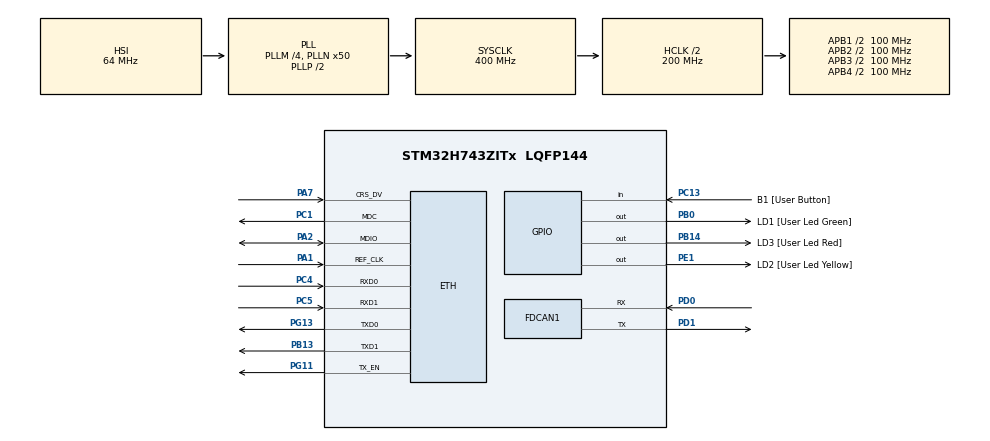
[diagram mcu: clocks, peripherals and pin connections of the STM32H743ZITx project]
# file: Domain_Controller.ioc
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CORTEX_M7.AccessPermission_S-Cortex_Memory_Protection_Unit_Region1_Settings_S=MPU_REGION_FULL_ACCESS
CORTEX_M7.AccessPermission_S-Cortex_Memory_Protection_Unit_Region2_Settings_S=MPU_REGION_FULL_ACCESS
CORTEX_M7.BaseAddress_S-Cortex_Memory_Protection_Unit_Region1_Settings_S=0x30020000
CORTEX_M7.BaseAddress_S-Cortex_Memory_Protection_Unit_Region2_Settings_S=0x30040000
CORTEX_M7.CPU_DCache=Enabled
CORTEX_M7.CPU_ICache=Enabled
CORTEX_M7.DisableExec_S-Cortex_Memory_Protection_Unit_Region1_Settings_S=MPU_INSTRUCTION_ACCESS_DISABLE
CORTEX_M7.DisableExec_S-Cortex_Memory_Protection_Unit_Region2_Settings_S=MPU_INSTRUCTION_ACCESS_DISABLE
CORTEX_M7.Enable_S-Cortex_Memory_Protection_Unit_Region1_Settings_S=MPU_REGION_ENABLE
CORTEX_M7.Enable_S-Cortex_Memory_Protection_Unit_Region2_Settings_S=MPU_REGION_ENABLE
CORTEX_M7.IsBufferable_S-Cortex_Memory_Protection_Unit_Region2_Settings_S=MPU_ACCESS_BUFFERABLE
CORTEX_M7.IsShareable_S-Cortex_Memory_Protection_Unit_Region2_Settings_S=MPU_ACCESS_SHAREABLE
CORTEX_M7.Size_S-Cortex_Memory_Protection_Unit_Region1_Settings_S=MPU_REGION_SIZE_128KB
CORTEX_M7.Size_S-Cortex_Memory_Protection_Unit_Region2_Settings_S=MPU_REGION_SIZE_512B
CORTEX_M7.TypeExtField_S-Cortex_Memory_Protection_Unit_Region1_Settings_S=MPU_TEX_LEVEL1
CORTEX_M7.default_mode_Activation=1
ETH.MediaInterface=HAL_ETH_RMII_MODE
FDCAN1.AutoRetransmission=ENABLE
FDCAN1.CalculateBaudRateNominal=1000000
FDCAN1.CalculateTimeBitNominal=1000
FDCAN1.CalculateTimeQuantumNominal=200.0
FDCAN1.DataTimeSeg1=1
FDCAN1.DataTimeSeg2=1
FDCAN1.NominalPrescaler=20
FDCAN1.NominalSyncJumpWidth=1
FDCAN1.NominalTimeSeg1=2
FDCAN1.NominalTimeSeg2=2
FDCAN1.RxFifo0ElmtsNbr=1
FDCAN1.StdFiltersNbr=1
FDCAN1.TxBuffersNbr=0
FDCAN1.TxFifoQueueElmtsNbr=8
FDCAN1.TxFifoQueueMode=FDCAN_TX_FIFO_OPERATION
LWIP.BSP.number=1
LWIP.IP_ADDRESS=192.168.010.050
LWIP.LWIP_DHCP=0
LWIP.LWIP_RAM_HEAP_POINTER=0x30020000
LWIP.MEM_SIZE=131048
LWIP.NETMASK_ADDRESS=255.255.255.000
LWIP.Version=v2.1.2_Cube
LWIP0.BSP.STBoard=false
LWIP0.BSP.api=BSP_COMPONENT_DRIVER
LWIP0.BSP.component=LAN8742
LWIP0.BSP.instance=LAN8742
LWIP0.BSP.name=Driver_PHY
LWIP0.BSP.semaphore=S_LAN8742
LWIP0.BSP.solution=LAN8742
Mcu.Family=STM32H7
Mcu.Name=STM32H743ZITx
Mcu.Package=LQFP144
NVIC.PriorityGroup=NVIC_PRIORITYGROUP_4
PA1.GPIO_Speed=GPIO_SPEED_FREQ_VERY_HIGH
PA1.Mode=RMII
PA1.Signal=ETH_REF_CLK
PA13\ (JTMS/SWDIO).GPIO_Label=JTMS
PA13\ (JTMS/SWDIO).Signal=DEBUG_JTMS-SWDIO
PA14\ (JTCK/SWCLK).GPIO_Label=JTCK
PA14\ (JTCK/SWCLK).Signal=DEBUG_JTCK-SWCLK
PA2.GPIO_Speed=GPIO_SPEED_FREQ_VERY_HIGH
PA2.Mode=RMII
PA2.Signal=ETH_MDIO
PA7.GPIO_Speed=GPIO_SPEED_FREQ_VERY_HIGH
PA7.Mode=RMII
PA7.Signal=ETH_CRS_DV
PB0.GPIO_Label=LD1 [User Led Green]
PB0.Signal=GPIO_Output
PB13.GPIO_Speed=GPIO_SPEED_FREQ_VERY_HIGH
PB13.Mode=RMII
PB13.Signal=ETH_TXD1
PB14.GPIO_Label=LD3 [User Led Red]
PB14.Signal=GPIO_Output
PC1.GPIO_Speed=GPIO_SPEED_FREQ_VERY_HIGH
PC1.Mode=RMII
PC1.Signal=ETH_MDC
PC13.GPIO_Label=B1 [User Button]
PC13.Signal=GPIO_Input
PC14-OSC32_IN\ (OSC32_IN).Signal=RCC_OSC32_IN
PC15-OSC32_OUT\ (OSC32_OUT).Signal=RCC_OSC32_OUT
PC4.GPIO_Speed=GPIO_SPEED_FREQ_VERY_HIGH
PC4.Mode=RMII
PC4.Signal=ETH_RXD0
PC5.GPIO_Speed=GPIO_SPEED_FREQ_VERY_HIGH
PC5.Mode=RMII
PC5.Signal=ETH_RXD1
PD0.Mode=FDCAN_Activate
PD0.Signal=FDCAN1_RX
PD1.Mode=FDCAN_Activate
PD1.Signal=FDCAN1_TX
PD8.GPIO_Label=STLINK_RX
PD8.Signal=USART3_TX
PD9.GPIO_Label=STLINK_TX
PD9.Signal=USART3_RX
PE1.GPIO_Label=LD2 [User Led Yellow]
PE1.Signal=GPIO_Output
PG11.GPIO_Speed=GPIO_SPEED_FREQ_VERY_HIGH
PG11.Mode=RMII
PG11.Signal=ETH_TX_EN
PG13.GPIO_Speed=GPIO_SPEED_FREQ_VERY_HIGH
PG13.Mode=RMII
PG13.Signal=ETH_TXD0
PH0-OSC_IN\ (PH0).Mode=HSE-External-Clock-Source
PH0-OSC_IN\ (PH0).Signal=RCC_OSC_IN
PH1-OSC_OUT\ (PH1).Signal=RCC_OSC_OUT
ProjectManager.HeapSize=0x200
ProjectManager.StackSize=0x400
ProjectManager.TargetToolchain=STM32CubeIDE
RCC.ADCFreq_Value=129000000
RCC.APB1Freq_Value=100000000
RCC.APB2Freq_Value=100000000
RCC.APB3Freq_Value=100000000
RCC.APB4Freq_Value=100000000
RCC.CortexFreq_Value=400000000
RCC.D1PPRE=RCC_APB3_DIV2
RCC.D2PPRE1=RCC_APB1_DIV2
RCC.D2PPRE2=RCC_APB2_DIV2
RCC.D3PPRE=RCC_APB4_DIV2
RCC.DIVM1=4
RCC.DIVN1=50
RCC.DIVQ1=8
RCC.HCLKFreq_Value=200000000
RCC.HPRE=RCC_HCLK_DIV2
RCC.PLLFRACN=0
RCC.SYSCLKFreq_VALUE=400000000
RCC.SYSCLKSource=RCC_SYSCLKSOURCE_PLLCLK
RCC.USBFreq_Value=100000000
VP_LWIP_VS_Enabled.Mode=Enabled
VP_MEMORYMAP_VS_MEMORYMAP.Mode=CurAppReg
board=NUCLEO-H743ZI2

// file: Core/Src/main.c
/* USER CODE BEGIN Header */
/**
  ******************************************************************************
  * @file           : main.c
  * @brief          : Main program body
  ******************************************************************************
  * @attention
  *
  * Copyright (c) 2025 STMicroelectronics.
  * All rights reserved.
  *
  * This software is licensed under terms that can be found in the LICENSE file
  * in the root directory of this software component.
  * If no LICENSE file comes with this software, it is provided AS-IS.
  *
  ******************************************************************************
  */
/* USER CODE END Header */
#include "main.h"
#include "lwip.h"

/* USER CODE BEGIN Includes */
#include "mqtt.h"
#include "netif.h"
#include "lwip/apps/mqtt.h"
#include "string.h"
/* USER CODE END Includes */

/* USER CODE BEGIN PD */
#define FIRMWARE_MAX_SIZE (1024*256) // 256 KB max
#define CAN_MAX_PAYLOAD 8
/* USER CODE END PD */

FDCAN_HandleTypeDef hfdcan1;

/* USER CODE BEGIN PV */
mqtt_client_t *client; // MQTT client

uint8_t firmware_buffer[FIRMWARE_MAX_SIZE];
uint32_t firmware_offset = 0;
uint8_t receiving_firmware = 0;
uint8_t send_to_can = 0;

// FDCAN1 Defines
FDCAN_TxHeaderTypeDef   TxHeader1;
FDCAN_RxHeaderTypeDef   RxHeader1;
uint8_t               TxData1[8];
uint8_t               RxData1[8];

/* USER CODE END PV */

void SystemClock_Config(void);
static void MPU_Config(void);
static void MX_GPIO_Init(void);
static void MX_FDCAN1_Init(void);

/* USER CODE BEGIN 0 */

void mqtt_incoming_publish_cb(void *arg, const char *topic, u32_t tot_len) {
  if (strcmp(topic, "firmware") == 0) {
    firmware_offset = 0;
    receiving_firmware = 1;
  } else {
    receiving_firmware = 0;
  }
}

void mqtt_incoming_data_cb(void *arg, const u8_t *data, u16_t len, u8_t flags) {
  if (!receiving_firmware) return;

  if ((firmware_offset + len) < FIRMWARE_MAX_SIZE) {
    memcpy(&firmware_buffer[firmware_offset], data, len);
    firmware_offset += len;
  } else {
    receiving_firmware = 0;
    return;
  }

  if (flags & MQTT_DATA_FLAG_LAST) {
    receiving_firmware = 0;
    send_to_can = 1;
  }
}

void do_connect(mqtt_client_t *client) {
  struct mqtt_connect_client_info_t ci;
  memset(&ci, 0, sizeof(ci));

  ci.client_id = "DomainController";
  ci.keep_alive  = 0;
  ci.will_topic  = "Status/Domain";
  ci.will_msg    = "Domain has disconnected unexpectedly";
  ci.will_qos    = 1;
  ci.will_retain = 1;

  ip_addr_t mqttServerIP;
  IP4_ADDR(&mqttServerIP, 192, 168, 10, 231); // Broker IP

  mqtt_set_inpub_callback(client, mqtt_incoming_publish_cb, mqtt_incoming_data_cb, NULL);

  mqtt_client_connect(client, &mqttServerIP, MQTT_PORT, NULL, 0, &ci);
}

void send_firmware_over_can()
{
    uint32_t offset = 0;
    uint32_t total_len = firmware_offset;

    TxHeader1.IdType = FDCAN_STANDARD_ID;
    TxHeader1.TxFrameType = FDCAN_DATA_FRAME;
    TxHeader1.DataLength = FDCAN_DLC_BYTES_1;
    TxHeader1.ErrorStateIndicator = FDCAN_ESI_ACTIVE;
    TxHeader1.BitRateSwitch = FDCAN_BRS_OFF;
    TxHeader1.FDFormat = FDCAN_CLASSIC_CAN;
    TxHeader1.TxEventFifoControl = FDCAN_NO_TX_EVENTS;
    TxHeader1.MessageMarker = 0;

    //Start message
    TxHeader1.Identifier = 0x10;
    uint8_t data = 1;
    while (HAL_FDCAN_GetTxFifoFreeLevel(&hfdcan1) == 0);
    if (HAL_FDCAN_AddMessageToTxFifoQ(&hfdcan1, &TxHeader1, &data) != HAL_OK)
    {
    	/* Transmission request Error */
    	Error_Handler();
    }
    //Data message
    TxHeader1.Identifier = 0x11;
    TxHeader1.DataLength = FDCAN_DLC_BYTES_8;
    while (offset < total_len)
    {
        uint8_t can_data[CAN_MAX_PAYLOAD] = {0};
        uint8_t len = ((total_len - offset) >= CAN_MAX_PAYLOAD) ? CAN_MAX_PAYLOAD : (total_len - offset);

        memcpy(can_data, &firmware_buffer[offset], len);
        offset += len;

        uint32_t txMailbox;
        while (HAL_FDCAN_GetTxFifoFreeLevel(&hfdcan1) == 0);
        if (HAL_FDCAN_AddMessageToTxFifoQ(&hfdcan1, &TxHeader1, can_data) != HAL_OK)
               {
                 /* Transmission request Error */
                 Error_Handler();
               }
        HAL_GPIO_TogglePin(LD1_GPIO_Port, LD1_Pin);
        HAL_Delay(10);

    }
    //Final frame
    TxHeader1.Identifier = 0x12;
    TxHeader1.DataLength = FDCAN_DLC_BYTES_1;

    while (HAL_FDCAN_GetTxFifoFreeLevel(&hfdcan1) == 0);
    if (HAL_FDCAN_AddMessageToTxFifoQ(&hfdcan1, &TxHeader1, &data) != HAL_OK)
                  {
                    /* Transmission request Error */
                    Error_Handler();
                  }
           HAL_GPIO_TogglePin(LD1_GPIO_Port, LD1_Pin);
           HAL_Delay(10);
}

/* USER CODE END 0 */

int main(void)
{

  /* MPU Configuration--------------------------------------------------------*/
  MPU_Config();

  /* Enable the CPU Cache */

  /* Enable I-Cache---------------------------------------------------------*/
  SCB_EnableICache();

  /* Enable D-Cache---------------------------------------------------------*/
  SCB_EnableDCache();

  /* MCU Configuration--------------------------------------------------------*/

  /* Reset of all peripherals, Initializes the Flash interface and the Systick. */
  HAL_Init();

  /* Configure the system clock */
  SystemClock_Config();

  /* Initialize all configured peripherals */
  MX_GPIO_Init();
  MX_LWIP_Init();
  MX_FDCAN1_Init();
  /* USER CODE BEGIN 2 */
  client = mqtt_client_new();
   while (!mqtt_client_is_connected(client)) {
     MX_LWIP_Process();
     do_connect(client);
     HAL_Delay(100);
   }

   // Dopo la connessione, sottoscriviti al topic
   err_t err = mqtt_subscribe(client, "firmware", 1, NULL, NULL);

   if (HAL_FDCAN_Start(&hfdcan1) != HAL_OK) {
       Error_Handler();
   }

  /* USER CODE END 2 */

  /* Infinite loop */
  while (1)
  {

    /* USER CODE BEGIN 3 */
	  MX_LWIP_Process();
	  if(send_to_can){
		  send_to_can = 0;
		  send_firmware_over_can();

	  }
  }
  /* USER CODE END 3 */
}

void SystemClock_Config(void)
{
  RCC_OscInitTypeDef RCC_OscInitStruct = {0};
  RCC_ClkInitTypeDef RCC_ClkInitStruct = {0};

  /** Supply configuration update enable
  */
  HAL_PWREx_ConfigSupply(PWR_LDO_SUPPLY);

  /** Configure the main internal regulator output voltage
  */
  __HAL_PWR_VOLTAGESCALING_CONFIG(PWR_REGULATOR_VOLTAGE_SCALE1);

  while(!__HAL_PWR_GET_FLAG(PWR_FLAG_VOSRDY)) {}

  /** Initializes the RCC Oscillators according to the specified parameters
  * in the RCC_OscInitTypeDef structure.
  */
  RCC_OscInitStruct.OscillatorType = RCC_OSCILLATORTYPE_HSI;
  RCC_OscInitStruct.HSIState = RCC_HSI_DIV1;
  RCC_OscInitStruct.HSICalibrationValue = RCC_HSICALIBRATION_DEFAULT;
  RCC_OscInitStruct.PLL.PLLState = RCC_PLL_ON;
  RCC_OscInitStruct.PLL.PLLSource = RCC_PLLSOURCE_HSI;
  RCC_OscInitStruct.PLL.PLLM = 4;
  RCC_OscInitStruct.PLL.PLLN = 50;
  RCC_OscInitStruct.PLL.PLLP = 2;
  RCC_OscInitStruct.PLL.PLLQ = 8;
  RCC_OscInitStruct.PLL.PLLR = 2;
  RCC_OscInitStruct.PLL.PLLRGE = RCC_PLL1VCIRANGE_3;
  RCC_OscInitStruct.PLL.PLLVCOSEL = RCC_PLL1VCOWIDE;
  RCC_OscInitStruct.PLL.PLLFRACN = 0;
  if (HAL_RCC_OscConfig(&RCC_OscInitStruct) != HAL_OK)
  {
    Error_Handler();
  }

  /** Initializes the CPU, AHB and APB buses clocks
  */
  RCC_ClkInitStruct.ClockType = RCC_CLOCKTYPE_HCLK|RCC_CLOCKTYPE_SYSCLK
                              |RCC_CLOCKTYPE_PCLK1|RCC_CLOCKTYPE_PCLK2
                              |RCC_CLOCKTYPE_D3PCLK1|RCC_CLOCKTYPE_D1PCLK1;
  RCC_ClkInitStruct.SYSCLKSource = RCC_SYSCLKSOURCE_PLLCLK;
  RCC_ClkInitStruct.SYSCLKDivider = RCC_SYSCLK_DIV1;
  RCC_ClkInitStruct.AHBCLKDivider = RCC_HCLK_DIV2;
  RCC_ClkInitStruct.APB3CLKDivider = RCC_APB3_DIV2;
  RCC_ClkInitStruct.APB1CLKDivider = RCC_APB1_DIV2;
  RCC_ClkInitStruct.APB2CLKDivider = RCC_APB2_DIV2;
  RCC_ClkInitStruct.APB4CLKDivider = RCC_APB4_DIV2;

  if (HAL_RCC_ClockConfig(&RCC_ClkInitStruct, FLASH_LATENCY_2) != HAL_OK)
  {
    Error_Handler();
  }
}

static void MX_FDCAN1_Init(void)
{

  hfdcan1.Instance = FDCAN1;
  hfdcan1.Init.FrameFormat = FDCAN_FRAME_CLASSIC;
  hfdcan1.Init.Mode = FDCAN_MODE_NORMAL;
  hfdcan1.Init.AutoRetransmission = ENABLE;
  hfdcan1.Init.TransmitPause = DISABLE;
  hfdcan1.Init.ProtocolException = DISABLE;
  hfdcan1.Init.NominalPrescaler = 20;
  hfdcan1.Init.NominalSyncJumpWidth = 1;
  hfdcan1.Init.NominalTimeSeg1 = 2;
  hfdcan1.Init.NominalTimeSeg2 = 2;
  hfdcan1.Init.DataPrescaler = 1;
  hfdcan1.Init.DataSyncJumpWidth = 1;
  hfdcan1.Init.DataTimeSeg1 = 1;
  hfdcan1.Init.DataTimeSeg2 = 1;
  hfdcan1.Init.MessageRAMOffset = 0;
  hfdcan1.Init.StdFiltersNbr = 1;
  hfdcan1.Init.ExtFiltersNbr = 0;
  hfdcan1.Init.RxFifo0ElmtsNbr = 1;
  hfdcan1.Init.RxFifo0ElmtSize = FDCAN_DATA_BYTES_8;
  hfdcan1.Init.RxFifo1ElmtsNbr = 0;
  hfdcan1.Init.RxFifo1ElmtSize = FDCAN_DATA_BYTES_8;
  hfdcan1.Init.RxBuffersNbr = 0;
  hfdcan1.Init.RxBufferSize = FDCAN_DATA_BYTES_8;
  hfdcan1.Init.TxEventsNbr = 0;
  hfdcan1.Init.TxBuffersNbr = 0;
  hfdcan1.Init.TxFifoQueueElmtsNbr = 8;
  hfdcan1.Init.TxFifoQueueMode = FDCAN_TX_FIFO_OPERATION;
  hfdcan1.Init.TxElmtSize = FDCAN_DATA_BYTES_8;
  if (HAL_FDCAN_Init(&hfdcan1) != HAL_OK)
  {
    Error_Handler();
  }
  /* USER CODE BEGIN FDCAN1_Init 2 */
  FDCAN_FilterTypeDef sFilterConfig;
   sFilterConfig.IdType = FDCAN_STANDARD_ID;
   sFilterConfig.FilterIndex = 0;
   sFilterConfig.FilterType = FDCAN_FILTER_MASK;
   sFilterConfig.FilterConfig = FDCAN_FILTER_TO_RXFIFO0;
   sFilterConfig.FilterID1 = 0x0000;
   sFilterConfig.FilterID2 = 0x0000;

   if(HAL_FDCAN_ConfigFilter(&hfdcan1, &sFilterConfig) !=HAL_OK){
       Error_Handler();
     }
   HAL_FDCAN_ConfigGlobalFilter(&hfdcan1,
       FDCAN_ACCEPT_IN_RX_FIFO0,
       FDCAN_ACCEPT_IN_RX_FIFO0,
       FDCAN_FILTER_REMOTE,
       FDCAN_FILTER_REMOTE);

  /* USER CODE END FDCAN1_Init 2 */

}

static void MX_GPIO_Init(void)
{
  GPIO_InitTypeDef GPIO_InitStruct = {0};

  /* GPIO Ports Clock Enable */
  __HAL_RCC_GPIOC_CLK_ENABLE();
  __HAL_RCC_GPIOH_CLK_ENABLE();
  __HAL_RCC_GPIOA_CLK_ENABLE();
  __HAL_RCC_GPIOB_CLK_ENABLE();
  __HAL_RCC_GPIOD_CLK_ENABLE();
  __HAL_RCC_GPIOG_CLK_ENABLE();
  __HAL_RCC_GPIOE_CLK_ENABLE();

  /*Configure GPIO pin Output Level */
  HAL_GPIO_WritePin(GPIOB, LD1_Pin|LD3_Pin, GPIO_PIN_RESET);

  /*Configure GPIO pin Output Level */
  HAL_GPIO_WritePin(LD2_GPIO_Port, LD2_Pin, GPIO_PIN_RESET);

  /*Configure GPIO pin : B1_Pin */
  GPIO_InitStruct.Pin = B1_Pin;
  GPIO_InitStruct.Mode = GPIO_MODE_INPUT;
  GPIO_InitStruct.Pull = GPIO_NOPULL;
  HAL_GPIO_Init(B1_GPIO_Port, &GPIO_InitStruct);

  /*Configure GPIO pins : LD1_Pin LD3_Pin */
  GPIO_InitStruct.Pin = LD1_Pin|LD3_Pin;
  GPIO_InitStruct.Mode = GPIO_MODE_OUTPUT_PP;
  GPIO_InitStruct.Pull = GPIO_NOPULL;
  GPIO_InitStruct.Speed = GPIO_SPEED_FREQ_LOW;
  HAL_GPIO_Init(GPIOB, &GPIO_InitStruct);

  /*Configure GPIO pins : STLINK_RX_Pin STLINK_TX_Pin */
  GPIO_InitStruct.Pin = STLINK_RX_Pin|STLINK_TX_Pin;
  GPIO_InitStruct.Mode = GPIO_MODE_AF_PP;
  GPIO_InitStruct.Pull = GPIO_NOPULL;
  GPIO_InitStruct.Speed = GPIO_SPEED_FREQ_LOW;
  GPIO_InitStruct.Alternate = GPIO_AF7_USART3;
  HAL_GPIO_Init(GPIOD, &GPIO_InitStruct);

  /*Configure GPIO pin : LD2_Pin */
  GPIO_InitStruct.Pin = LD2_Pin;
  GPIO_InitStruct.Mode = GPIO_MODE_OUTPUT_PP;
  GPIO_InitStruct.Pull = GPIO_NOPULL;
  GPIO_InitStruct.Speed = GPIO_SPEED_FREQ_LOW;
  HAL_GPIO_Init(LD2_GPIO_Port, &GPIO_InitStruct);

}

 /* MPU Configuration */

void MPU_Config(void)
{
  MPU_Region_InitTypeDef MPU_InitStruct = {0};

  /* Disables the MPU */
  HAL_MPU_Disable();

  /** Initializes and configures the Region and the memory to be protected
  */
  MPU_InitStruct.Enable = MPU_REGION_ENABLE;
  MPU_InitStruct.Number = MPU_REGION_NUMBER0;
  MPU_InitStruct.BaseAddress = 0x0;
  MPU_InitStruct.Size = MPU_REGION_SIZE_4GB;
  MPU_InitStruct.SubRegionDisable = 0x87;
  MPU_InitStruct.TypeExtField = MPU_TEX_LEVEL0;
  MPU_InitStruct.AccessPermission = MPU_REGION_NO_ACCESS;
  MPU_InitStruct.DisableExec = MPU_INSTRUCTION_ACCESS_DISABLE;
  MPU_InitStruct.IsShareable = MPU_ACCESS_SHAREABLE;
  MPU_InitStruct.IsCacheable = MPU_ACCESS_NOT_CACHEABLE;
  MPU_InitStruct.IsBufferable = MPU_ACCESS_NOT_BUFFERABLE;

  HAL_MPU_ConfigRegion(&MPU_InitStruct);

  /** Initializes and configures the Region and the memory to be protected
  */
  MPU_InitStruct.Number = MPU_REGION_NUMBER1;
  MPU_InitStruct.BaseAddress = 0x30020000;
  MPU_InitStruct.Size = MPU_REGION_SIZE_128KB;
  MPU_InitStruct.SubRegionDisable = 0x0;
  MPU_InitStruct.TypeExtField = MPU_TEX_LEVEL1;
  MPU_InitStruct.AccessPermission = MPU_REGION_FULL_ACCESS;
  MPU_InitStruct.IsShareable = MPU_ACCESS_NOT_SHAREABLE;

  HAL_MPU_ConfigRegion(&MPU_InitStruct);

  /** Initializes and configures the Region and the memory to be protected
  */
  MPU_InitStruct.Number = MPU_REGION_NUMBER2;
  MPU_InitStruct.BaseAddress = 0x30040000;
  MPU_InitStruct.Size = MPU_REGION_SIZE_512B;
  MPU_InitStruct.TypeExtField = MPU_TEX_LEVEL0;
  MPU_InitStruct.IsShareable = MPU_ACCESS_SHAREABLE;
  MPU_InitStruct.IsBufferable = MPU_ACCESS_BUFFERABLE;

  HAL_MPU_ConfigRegion(&MPU_InitStruct);
  /* Enables the MPU */
  HAL_MPU_Enable(MPU_PRIVILEGED_DEFAULT);

}

void Error_Handler(void)
{
  __disable_irq();
  while (1)
  {
  }
}
